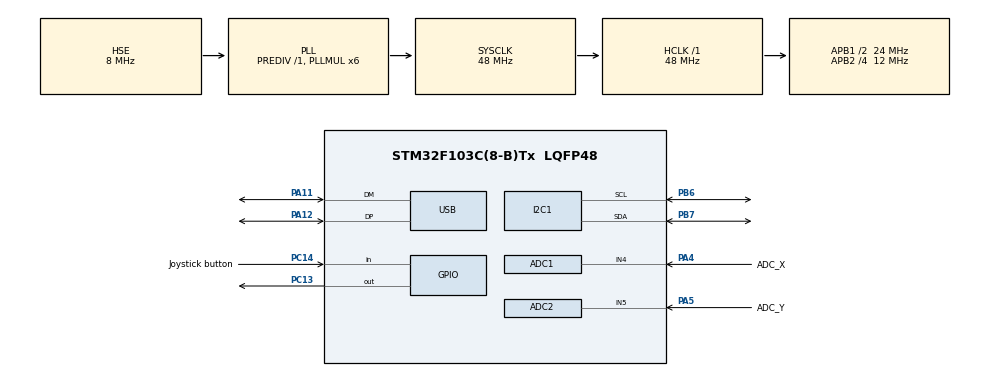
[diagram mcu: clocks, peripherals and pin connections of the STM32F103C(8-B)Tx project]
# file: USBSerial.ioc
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ADC1.Channel-4\#ChannelRegularConversion=ADC_CHANNEL_4
ADC1.NbrOfConversionFlag=1
ADC1.Rank-4\#ChannelRegularConversion=1
ADC1.SamplingTime-4\#ChannelRegularConversion=ADC_SAMPLETIME_1CYCLE_5
ADC1.master=1
ADC2.Channel-0\#ChannelRegularConversion=ADC_CHANNEL_5
ADC2.NbrOfConversionFlag=1
ADC2.Rank-0\#ChannelRegularConversion=1
ADC2.SamplingTime-0\#ChannelRegularConversion=ADC_SAMPLETIME_1CYCLE_5
Mcu.Family=STM32F1
Mcu.Name=STM32F103C(8-B)Tx
Mcu.Package=LQFP48
NVIC.PriorityGroup=NVIC_PRIORITYGROUP_4
NVIC.USB_LP_CAN1_RX0_IRQn=true\:0\:0\:false\:false\:true\:false
PA11.Mode=Device
PA11.Signal=USB_DM
PA12.Mode=Device
PA12.Signal=USB_DP
PA13.Mode=Serial_Wire
PA13.Signal=SYS_JTMS-SWDIO
PA14.Mode=Serial_Wire
PA14.Signal=SYS_JTCK-SWCLK
PA4.GPIO_Label=ADC_X
PA4.Signal=ADCx_IN4
PA5.GPIO_Label=ADC_Y
PA5.Signal=ADCx_IN5
PB6.Mode=I2C
PB6.Signal=I2C1_SCL
PB7.Mode=I2C
PB7.Signal=I2C1_SDA
PC13-TAMPER-RTC.PinState=GPIO_PIN_SET
PC13-TAMPER-RTC.Signal=GPIO_Output
PC14-OSC32_IN.GPIO_Label=Joystick button
PC14-OSC32_IN.GPIO_PuPd=GPIO_PULLUP
PC14-OSC32_IN.Signal=GPIO_Input
PD0-OSC_IN.Mode=HSE-External-Oscillator
PD0-OSC_IN.Signal=RCC_OSC_IN
PD1-OSC_OUT.Mode=HSE-External-Oscillator
PD1-OSC_OUT.Signal=RCC_OSC_OUT
ProjectManager.HeapSize=0x200
ProjectManager.StackSize=0x400
ProjectManager.TargetToolchain=Makefile
RCC.ADCPresc=RCC_ADCPCLK2_DIV6
RCC.AHBFreq_Value=48000000
RCC.APB1CLKDivider=RCC_HCLK_DIV2
RCC.APB1Freq_Value=24000000
RCC.APB1TimFreq_Value=48000000
RCC.APB2CLKDivider=RCC_HCLK_DIV4
RCC.APB2Freq_Value=12000000
RCC.APB2TimCLKDivider=2
RCC.APB2TimFreq_Value=24000000
RCC.HCLKFreq_Value=48000000
RCC.PLLMUL=RCC_PLL_MUL6
RCC.SYSCLKFreq_VALUE=48000000
RCC.SYSCLKSource=RCC_SYSCLKSOURCE_PLLCLK
RCC.USBFreq_Value=48000000
SH.ADCx_IN4.0=ADC1_IN4,IN4
SH.ADCx_IN5.0=ADC2_IN5,IN5
USB_DEVICE.CLASS_NAME_FS=CDC
USB_DEVICE.USBD_SELF_POWERED=0
USB_DEVICE.VirtualMode=Cdc
USB_DEVICE.VirtualModeFS=Cdc_FS
VP_USB_DEVICE_VS_USB_DEVICE_CDC_FS.Mode=CDC_FS
board=USBSerial

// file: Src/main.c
/**
  ******************************************************************************
  * File Name          : main.c
  * Description        : Main program body
  ******************************************************************************
  * This notice applies to any and all portions of this file
  * that are not between comment pairs USER CODE BEGIN and
  * USER CODE END. Other portions of this file, whether
  * inserted by the user or by software development tools
  * are owned by their respective copyright owners.
  *
  * Copyright (c) 2018 STMicroelectronics International N.V.
  * All rights reserved.
  *
  * Redistribution and use in source and binary forms, with or without
  * modification, are permitted, provided that the following conditions are met:
  *
  * 1. Redistribution of source code must retain the above copyright notice,
  *    this list of conditions and the following disclaimer.
  * 2. Redistributions in binary form must reproduce the above copyright notice,
  *    this list of conditions and the following disclaimer in the documentation
  *    and/or other materials provided with the distribution.
  * 3. Neither the name of STMicroelectronics nor the names of other
  *    contributors to this software may be used to endorse or promote products
  *    derived from this software without specific written permission.
  * 4. This software, including modifications and/or derivative works of this
  *    software, must execute solely and exclusively on microcontroller or
  *    microprocessor devices manufactured by or for STMicroelectronics.
  * 5. Redistribution and use of this software other than as permitted under
  *    this license is void and will automatically terminate your rights under
  *    this license.
  *
  * THIS SOFTWARE IS PROVIDED BY STMICROELECTRONICS AND CONTRIBUTORS "AS IS"
  * AND ANY EXPRESS, IMPLIED OR STATUTORY WARRANTIES, INCLUDING, BUT NOT
  * LIMITED TO, THE IMPLIED WARRANTIES OF MERCHANTABILITY, FITNESS FOR A
  * PARTICULAR PURPOSE AND NON-INFRINGEMENT OF THIRD PARTY INTELLECTUAL PROPERTY
  * RIGHTS ARE DISCLAIMED TO THE FULLEST EXTENT PERMITTED BY LAW. IN NO EVENT
  * SHALL STMICROELECTRONICS OR CONTRIBUTORS BE LIABLE FOR ANY DIRECT, INDIRECT,
  * INCIDENTAL, SPECIAL, EXEMPLARY, OR CONSEQUENTIAL DAMAGES (INCLUDING, BUT NOT
  * LIMITED TO, PROCUREMENT OF SUBSTITUTE GOODS OR SERVICES; LOSS OF USE, DATA,
  * OR PROFITS; OR BUSINESS INTERRUPTION) HOWEVER CAUSED AND ON ANY THEORY OF
  * LIABILITY, WHETHER IN CONTRACT, STRICT LIABILITY, OR TORT (INCLUDING
  * NEGLIGENCE OR OTHERWISE) ARISING IN ANY WAY OUT OF THE USE OF THIS SOFTWARE,
  * EVEN IF ADVISED OF THE POSSIBILITY OF SUCH DAMAGE.
  *
  ******************************************************************************
  */

#include "main.h"
#include "stm32f1xx_hal.h"
#include "usb_device.h"

/* USER CODE BEGIN Includes */
#include "joystick.h"
#include "tea5767.h"
#include "usb_logger.h"
/* USER CODE END Includes */

ADC_HandleTypeDef hadc1;
ADC_HandleTypeDef hadc2;

I2C_HandleTypeDef hi2c1;

/* USER CODE BEGIN PV */
/* Private variables ---------------------------------------------------------*/

/* USER CODE END PV */

void SystemClock_Config(void);
static void MX_GPIO_Init(void);
static void MX_ADC1_Init(void);
static void MX_ADC2_Init(void);
static void MX_I2C1_Init(void);

/* USER CODE BEGIN PFP */
/* Private function prototypes -----------------------------------------------*/

/* USER CODE END PFP */

int main(void)
{

  /* MCU Configuration----------------------------------------------------------*/

  /* Reset of all peripherals, Initializes the Flash interface and the Systick. */
  HAL_Init();

  /* Configure the system clock */
  SystemClock_Config();

  /* Initialize all configured peripherals */
  MX_GPIO_Init();
  MX_USB_DEVICE_Init();
  MX_ADC1_Init();
  MX_ADC2_Init();
  MX_I2C1_Init();

  /* Infinite loop */
  /* USER CODE BEGIN WHILE */
  initJoystickStatus();
  tea5767_init();
  while (1)
  {
  /* USER CODE END WHILE */

  /* USER CODE BEGIN 3 */
    const GPIO_PinState pState = HAL_GPIO_ReadPin(GPIOC, GPIO_PIN_14 );
    if( updateJoystickStatus(pState) ) {

      snprintf(mLogString, MAX_LOG_STR_LEN, "JOYSTICK: Pressed = %s",
        JSTATE_PRESSED==joystickStatus.mJoystickButtonState ? "T" : "F");
      _log(mLogString);

      if(JSTATE_PRESSED==joystickStatus.mJoystickButtonState) {
        _log("LED ON");
        HAL_GPIO_WritePin(GPIOC, GPIO_PIN_13, 0);
        _log("Read radio status start");
        const int8_t result = tea5767_readStatus(&hi2c1);
        snprintf(mLogString, MAX_LOG_STR_LEN, "redio status result = %d", result );
        _log(mLogString);
      }  else {
        HAL_GPIO_WritePin(GPIOC, GPIO_PIN_13, 1);
      }
    }

    {
      HAL_ADC_Start(&hadc1);
      HAL_ADC_PollForConversion(&hadc1, 100);
      uint16_t adcYResult = HAL_ADC_GetValue(&hadc1);
      HAL_ADC_Stop(&hadc1);

//      snprintf(mLogString, STR_LEN, "ADC1: VALUE=%d\n\r", adcYResult);
//      CDC_Transmit_FS(mLogString, strlen(mLogString));

      HAL_ADC_Start(&hadc2);
      HAL_ADC_PollForConversion(&hadc2, 100);
      uint16_t adcXResult = HAL_ADC_GetValue(&hadc2);
      HAL_ADC_Stop(&hadc2);

//      snprintf(mLogString, STR_LEN, "ADC2: VALUE=%d\n\r", adcXResult);
//      CDC_Transmit_FS(mLogString, strlen(mLogString));

      if(updateJoystickPosition(adcXResult, adcYResult)) {
        char *sXState;
        char *sYState;
        if(JSTATE_LEFT==joystickStatus.mHorizontal) {
          sXState = "LEFT";
        } else if(JSTATE_RIGHT==joystickStatus.mHorizontal) {
          sXState = "RIGHT";
        } else {
          sXState = "CENTER";
        }
        if(JSTATE_UP==joystickStatus.mVertical) {
          sYState = "UP";
        } else if(JSTATE_DOWN==joystickStatus.mVertical) {
          sYState = "DOWN";
        } else {
          sYState = "CENTER";
        }
        snprintf(mLogString, MAX_LOG_STR_LEN, "JOYSTICK: X = %s, Y = %s\n\r", sXState, sYState);
        _log(mLogString);
      }
    }
  }
  /* USER CODE END 3 */

}

/** System Clock Configuration
*/
void SystemClock_Config(void)
{

  RCC_OscInitTypeDef RCC_OscInitStruct;
  RCC_ClkInitTypeDef RCC_ClkInitStruct;
  RCC_PeriphCLKInitTypeDef PeriphClkInit;

    /**Initializes the CPU, AHB and APB busses clocks
    */
  RCC_OscInitStruct.OscillatorType = RCC_OSCILLATORTYPE_HSE;
  RCC_OscInitStruct.HSEState = RCC_HSE_ON;
  RCC_OscInitStruct.HSEPredivValue = RCC_HSE_PREDIV_DIV1;
  RCC_OscInitStruct.HSIState = RCC_HSI_ON;
  RCC_OscInitStruct.PLL.PLLState = RCC_PLL_ON;
  RCC_OscInitStruct.PLL.PLLSource = RCC_PLLSOURCE_HSE;
  RCC_OscInitStruct.PLL.PLLMUL = RCC_PLL_MUL6;
  if (HAL_RCC_OscConfig(&RCC_OscInitStruct) != HAL_OK)
  {
    _Error_Handler(__FILE__, __LINE__);
  }

    /**Initializes the CPU, AHB and APB busses clocks
    */
  RCC_ClkInitStruct.ClockType = RCC_CLOCKTYPE_HCLK|RCC_CLOCKTYPE_SYSCLK
                              |RCC_CLOCKTYPE_PCLK1|RCC_CLOCKTYPE_PCLK2;
  RCC_ClkInitStruct.SYSCLKSource = RCC_SYSCLKSOURCE_PLLCLK;
  RCC_ClkInitStruct.AHBCLKDivider = RCC_SYSCLK_DIV1;
  RCC_ClkInitStruct.APB1CLKDivider = RCC_HCLK_DIV2;
  RCC_ClkInitStruct.APB2CLKDivider = RCC_HCLK_DIV4;

  if (HAL_RCC_ClockConfig(&RCC_ClkInitStruct, FLASH_LATENCY_1) != HAL_OK)
  {
    _Error_Handler(__FILE__, __LINE__);
  }

  PeriphClkInit.PeriphClockSelection = RCC_PERIPHCLK_ADC|RCC_PERIPHCLK_USB;
  PeriphClkInit.AdcClockSelection = RCC_ADCPCLK2_DIV6;
  PeriphClkInit.UsbClockSelection = RCC_USBCLKSOURCE_PLL;
  if (HAL_RCCEx_PeriphCLKConfig(&PeriphClkInit) != HAL_OK)
  {
    _Error_Handler(__FILE__, __LINE__);
  }

    /**Configure the Systick interrupt time
    */
  HAL_SYSTICK_Config(HAL_RCC_GetHCLKFreq()/1000);

    /**Configure the Systick
    */
  HAL_SYSTICK_CLKSourceConfig(SYSTICK_CLKSOURCE_HCLK);

  /* SysTick_IRQn interrupt configuration */
  HAL_NVIC_SetPriority(SysTick_IRQn, 0, 0);
}

/* ADC1 init function */
static void MX_ADC1_Init(void)
{

  ADC_ChannelConfTypeDef sConfig;

    /**Common config
    */
  hadc1.Instance = ADC1;
  hadc1.Init.ScanConvMode = ADC_SCAN_DISABLE;
  hadc1.Init.ContinuousConvMode = DISABLE;
  hadc1.Init.DiscontinuousConvMode = DISABLE;
  hadc1.Init.ExternalTrigConv = ADC_SOFTWARE_START;
  hadc1.Init.DataAlign = ADC_DATAALIGN_RIGHT;
  hadc1.Init.NbrOfConversion = 1;
  if (HAL_ADC_Init(&hadc1) != HAL_OK)
  {
    _Error_Handler(__FILE__, __LINE__);
  }

    /**Configure Regular Channel
    */
  sConfig.Channel = ADC_CHANNEL_4;
  sConfig.Rank = 1;
  sConfig.SamplingTime = ADC_SAMPLETIME_1CYCLE_5;
  if (HAL_ADC_ConfigChannel(&hadc1, &sConfig) != HAL_OK)
  {
    _Error_Handler(__FILE__, __LINE__);
  }

}

/* ADC2 init function */
static void MX_ADC2_Init(void)
{

  ADC_ChannelConfTypeDef sConfig;

    /**Common config
    */
  hadc2.Instance = ADC2;
  hadc2.Init.ScanConvMode = ADC_SCAN_DISABLE;
  hadc2.Init.ContinuousConvMode = DISABLE;
  hadc2.Init.DiscontinuousConvMode = DISABLE;
  hadc2.Init.ExternalTrigConv = ADC_SOFTWARE_START;
  hadc2.Init.DataAlign = ADC_DATAALIGN_RIGHT;
  hadc2.Init.NbrOfConversion = 1;
  if (HAL_ADC_Init(&hadc2) != HAL_OK)
  {
    _Error_Handler(__FILE__, __LINE__);
  }

    /**Configure Regular Channel
    */
  sConfig.Channel = ADC_CHANNEL_5;
  sConfig.Rank = 1;
  sConfig.SamplingTime = ADC_SAMPLETIME_1CYCLE_5;
  if (HAL_ADC_ConfigChannel(&hadc2, &sConfig) != HAL_OK)
  {
    _Error_Handler(__FILE__, __LINE__);
  }

}

/* I2C1 init function */
static void MX_I2C1_Init(void)
{

  hi2c1.Instance = I2C1;
  hi2c1.Init.ClockSpeed = 100000;
  hi2c1.Init.DutyCycle = I2C_DUTYCYCLE_2;
  hi2c1.Init.OwnAddress1 = 0;
  hi2c1.Init.AddressingMode = I2C_ADDRESSINGMODE_7BIT;
  hi2c1.Init.DualAddressMode = I2C_DUALADDRESS_DISABLE;
  hi2c1.Init.OwnAddress2 = 0;
  hi2c1.Init.GeneralCallMode = I2C_GENERALCALL_DISABLE;
  hi2c1.Init.NoStretchMode = I2C_NOSTRETCH_DISABLE;
  if (HAL_I2C_Init(&hi2c1) != HAL_OK)
  {
    _Error_Handler(__FILE__, __LINE__);
  }

}

/** Configure pins as
        * Analog
        * Input
        * Output
        * EVENT_OUT
        * EXTI
*/
static void MX_GPIO_Init(void)
{

  GPIO_InitTypeDef GPIO_InitStruct;

  /* GPIO Ports Clock Enable */
  __HAL_RCC_GPIOC_CLK_ENABLE();
  __HAL_RCC_GPIOD_CLK_ENABLE();
  __HAL_RCC_GPIOA_CLK_ENABLE();
  __HAL_RCC_GPIOB_CLK_ENABLE();

  /*Configure GPIO pin Output Level */
  HAL_GPIO_WritePin(GPIOC, GPIO_PIN_13, GPIO_PIN_SET);

  /*Configure GPIO pin : PC13 */
  GPIO_InitStruct.Pin = GPIO_PIN_13;
  GPIO_InitStruct.Mode = GPIO_MODE_OUTPUT_PP;
  GPIO_InitStruct.Speed = GPIO_SPEED_FREQ_LOW;
  HAL_GPIO_Init(GPIOC, &GPIO_InitStruct);

  /*Configure GPIO pin : Joystick_button_Pin */
  GPIO_InitStruct.Pin = Joystick_button_Pin;
  GPIO_InitStruct.Mode = GPIO_MODE_INPUT;
  GPIO_InitStruct.Pull = GPIO_PULLUP;
  HAL_GPIO_Init(Joystick_button_GPIO_Port, &GPIO_InitStruct);

}

void _Error_Handler(char * file, int line)
{
  while(1)
  {
  }
}

/************************ (C) COPYRIGHT STMicroelectronics *****END OF FILE****/
